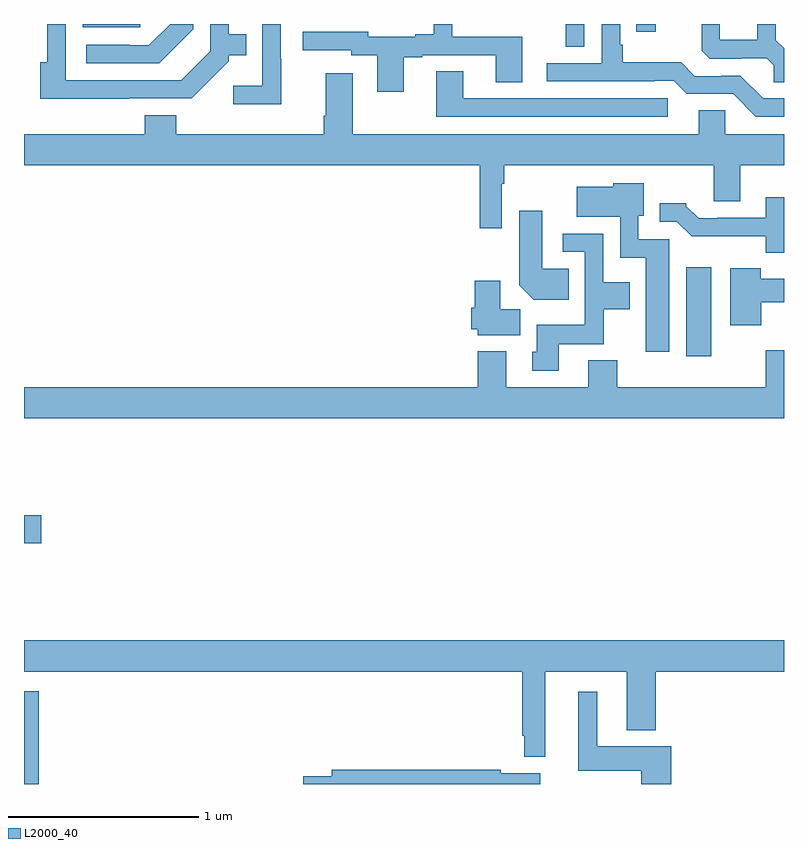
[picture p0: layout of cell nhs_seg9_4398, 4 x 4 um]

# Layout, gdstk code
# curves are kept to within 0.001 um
import gdstk
lib = gdstk.Library(unit=1e-6, precision=1e-09)
def R(c, l, rs):  # rectangles x0, y0, x1, y1
    for r in rs: c.add(gdstk.rectangle(r[:2], r[2:], *l))
def P(c, l, *ps):  # polygons
    for p in ps: c.add(gdstk.Polygon(p, *l))
L2000_40 = (2000, 40)

nhs_seg9_4398 = lib.new_cell('nhs_seg9_4398')
R(nhs_seg9_4398, L2000_40, [(363,1190.5,363.077,1190.989), (363,1191.767,363.091,1191.914), (366.485,1192.752,366.616,1193.221), (365.851,1194.379,365.949,1194.5), (366.223,1194.459,366.324,1194.5), (363.308,1194.483,363.613,1194.5)])
P(nhs_seg9_4398, L2000_40, [(364.999,1194.324),(365.095,1194.324),(365.095,1194.336),(365.483,1194.336),(365.483,1194.193),(365.623,1194.193),(365.623,1194.432),(365.253,1194.432),(365.253,1194.5),(365.156,1194.5),(365.156,1194.445),(365.06,1194.445),(365.06,1194.432),(364.812,1194.432),(364.812,1194.459),(364.467,1194.459),(364.467,1194.363),(364.722,1194.363),(364.722,1194.336),(364.859,1194.336),(364.859,1194.144),(364.999,1194.144)],
  [(364.353,1194.317),(364.35,1194.317),(364.35,1194.5),(364.254,1194.5),(364.254,1194.175),(364.101,1194.175),(364.101,1194.077),(364.353,1194.077)],
  [(367,1194.372),(366.957,1194.415),(366.957,1194.5),(366.86,1194.5),(366.86,1194.418),(366.662,1194.418),(366.662,1194.5),(366.568,1194.5),(366.568,1194.359),(366.609,1194.318),(366.774,1194.318),(366.774,1194.321),(366.908,1194.321),(366.945,1194.284),(366.945,1194.193),(367,1194.193)],
  [(363.891,1194.473),(363.891,1194.5),(363.77,1194.5),(363.657,1194.387),(363.557,1194.387),(363.557,1194.39),(363.327,1194.39),(363.327,1194.294),(363.712,1194.294)],
  [(363.551,1194.108),(363.882,1194.108),(364.077,1194.303),(364.077,1194.335),(364.169,1194.335),(364.169,1194.445),(364.078,1194.445),(364.078,1194.5),(363.981,1194.5),(363.981,1194.357),(363.828,1194.204),(363.219,1194.204),(363.219,1194.5),(363.123,1194.5),(363.123,1194.298),(363.086,1194.298),(363.086,1194.107)],
  [(367,1194.108),(366.891,1194.108),(366.771,1194.228),(366.67,1194.228),(366.67,1194.225),(366.531,1194.225),(366.458,1194.298),(366.151,1194.298),(366.151,1194.391),(366.138,1194.391),(366.138,1194.5),(366.042,1194.5),(366.042,1194.294),(365.751,1194.294),(365.751,1194.198),(366.32,1194.198),(366.32,1194.201),(366.42,1194.201),(366.489,1194.132),(366.732,1194.132),(366.852,1194.012),(367,1194.012)],
  [(366.388,1194.108),(365.311,1194.108),(365.311,1194.251),(365.171,1194.251),(365.171,1194.012),(366.388,1194.012)],
  [(365.514,1193.66),(365.527,1193.66),(365.527,1193.756),(366.629,1193.756),(366.629,1193.566),(366.769,1193.566),(366.769,1193.756),(367,1193.756),(367,1193.92),(366.69,1193.92),(366.69,1194.047),(366.551,1194.047),(366.551,1193.92),(364.729,1193.92),(364.729,1194.241),(364.589,1194.241),(364.589,1194.016),(364.577,1194.016),(364.577,1193.92),(363.8,1193.92),(363.8,1194.019),(363.635,1194.019),(363.635,1193.92),(363,1193.92),(363,1193.756),(365.398,1193.756),(365.398,1193.424),(365.514,1193.424)],
  [(366.397,1193.367),(366.234,1193.367),(366.234,1193.49),(366.262,1193.49),(366.262,1193.662),(366.102,1193.662),(366.102,1193.644),(365.91,1193.644),(365.91,1193.486),(366.138,1193.486),(366.138,1193.27),(366.272,1193.27),(366.272,1192.776),(366.397,1192.776)],
  [(367,1193.587),(366.905,1193.587),(366.905,1193.481),(366.649,1193.481),(366.649,1193.478),(366.55,1193.478),(366.486,1193.542),(366.486,1193.557),(366.347,1193.557),(366.347,1193.46),(366.435,1193.46),(366.514,1193.382),(366.903,1193.382),(366.903,1193.297),(367,1193.297)],
  [(365.867,1193.212),(365.728,1193.212),(365.728,1193.518),(365.606,1193.518),(365.606,1193.126),(365.684,1193.048),(365.867,1193.048)],
  [(365.815,1192.814),(366.051,1192.814),(366.051,1193),(366.187,1193),(366.187,1193.14),(366.048,1193.14),(366.048,1193.397),(365.835,1193.397),(365.835,1193.301),(365.952,1193.301),(365.952,1192.918),(365.699,1192.918),(365.699,1192.776),(365.675,1192.776),(365.675,1192.674),(365.815,1192.674)],
  [(366.88,1193.036),(367,1193.036),(367,1193.158),(366.878,1193.158),(366.878,1193.215),(366.716,1193.215),(366.716,1192.914),(366.88,1192.914)],
  [(365.611,1193),(365.506,1193),(365.506,1193.149),(365.372,1193.149),(365.372,1193.007),(365.354,1193.007),(365.354,1192.893),(365.388,1192.893),(365.388,1192.862),(365.611,1192.862)],
  [(367,1192.783),(366.905,1192.783),(366.905,1192.588),(366.122,1192.588),(366.122,1192.729),(365.969,1192.729),(365.969,1192.588),(365.539,1192.588),(365.539,1192.777),(365.387,1192.777),(365.387,1192.588),(363,1192.588),(363,1192.424),(367,1192.424)],
  [(365.743,1191.092),(366.173,1191.092),(366.173,1190.783),(366.326,1190.783),(366.326,1191.092),(367,1191.092),(367,1191.256),(363,1191.256),(363,1191.092),(365.622,1191.092),(365.622,1190.755),(365.632,1190.755),(365.632,1190.643),(365.743,1190.643)],
  [(366.407,1190.698),(366.016,1190.698),(366.016,1190.986),(365.918,1190.986),(365.918,1190.57),(366.248,1190.57),(366.248,1190.5),(366.407,1190.5)],
  [(365.716,1190.556),(365.51,1190.556),(365.51,1190.576),(364.619,1190.576),(364.619,1190.54),(364.47,1190.54),(364.47,1190.5),(365.716,1190.5)])

lib.write_gds('nhs_seg9_4398.gds')
